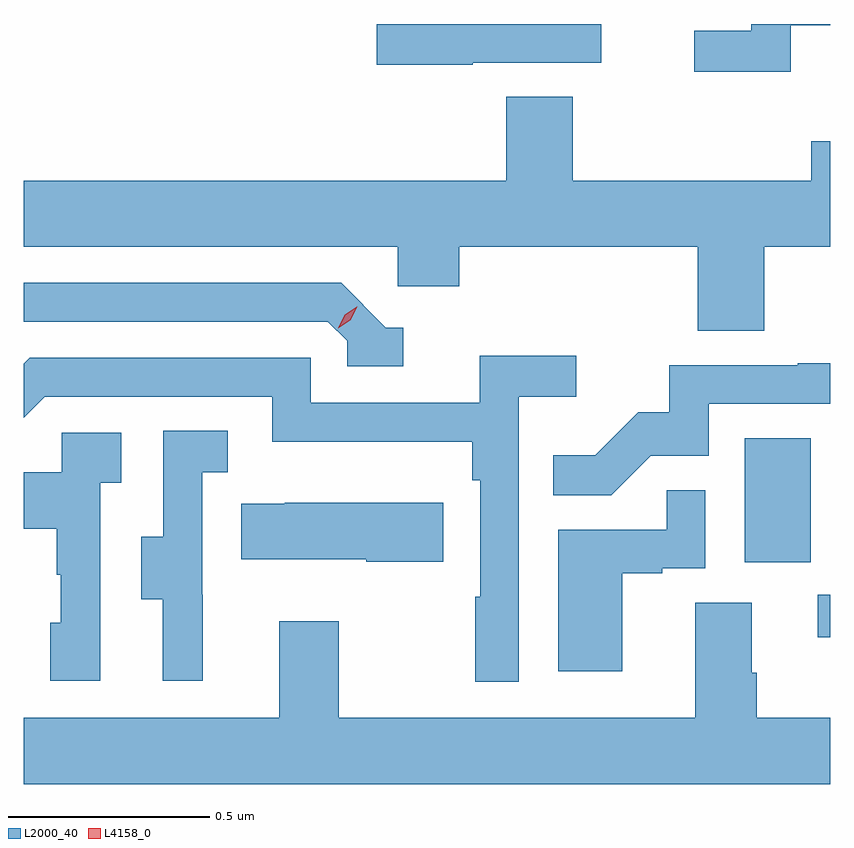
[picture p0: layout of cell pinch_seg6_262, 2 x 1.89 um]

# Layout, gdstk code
import gdstk
lib = gdstk.Library(unit=1e-6, precision=1e-09)
def R(c, l, rs):  # rectangles x0, y0, x1, y1
    for r in rs: c.add(gdstk.rectangle(r[:2], r[2:], *l))
def P(c, l, *ps):  # polygons
    for p in ps: c.add(gdstk.Polygon(p, *l))
L2000_40 = (2000, 40)
L4158_0 = (4158, 0)

pinch_seg6_262 = lib.new_cell('pinch_seg6_262')
R(pinch_seg6_262, L2000_40, [(1103.049,918.396,1103.08,918.501), (1102.868,918.582,1103.032,918.889)])
P(pinch_seg6_262, L2000_40, [(1102.193,919.821),(1102.512,919.821),(1102.512,919.917),(1101.955,919.917),(1101.955,919.816),(1102.193,919.816)],
  [(1102.982,919.914),(1103.08,919.914),(1103.08,919.917),(1102.884,919.917),(1102.884,919.9),(1102.743,919.9),(1102.743,919.798),(1102.982,919.798)],
  [(1102.916,919.364),(1103.08,919.364),(1103.08,919.626),(1103.033,919.626),(1103.033,919.528),(1102.442,919.528),(1102.442,919.736),(1102.277,919.736),(1102.277,919.528),(1101.08,919.528),(1101.08,919.364),(1102.008,919.364),(1102.008,919.266),(1102.16,919.266),(1102.16,919.364),(1102.751,919.364),(1102.751,919.156),(1102.916,919.156)],
  [(1102.021,919.164),(1101.978,919.164),(1101.867,919.275),(1101.08,919.275),(1101.08,919.179),(1101.834,919.179),(1101.882,919.131),(1101.882,919.068),(1102.021,919.068)],
  [(1102.308,918.992),(1102.45,918.992),(1102.45,919.094),(1102.211,919.094),(1102.211,918.978),(1101.792,918.978),(1101.792,919.089),(1101.095,919.089),(1101.08,919.074),(1101.08,918.941),(1101.132,918.993),(1101.696,918.993),(1101.696,918.881),(1102.192,918.881),(1102.192,918.785),(1102.212,918.785),(1102.212,918.497),(1102.2,918.497),(1102.2,918.285),(1102.308,918.285)],
  [(1102.635,918.846),(1102.779,918.846),(1102.779,918.975),(1103.08,918.975),(1103.08,919.076),(1102.999,919.076),(1102.999,919.071),(1102.681,919.071),(1102.681,918.954),(1102.604,918.954),(1102.497,918.847),(1102.393,918.847),(1102.393,918.748),(1102.537,918.748)],
  [(1101.524,918.501),(1101.522,918.501),(1101.522,918.805),(1101.586,918.805),(1101.586,918.908),(1101.426,918.908),(1101.426,918.645),(1101.371,918.645),(1101.371,918.49),(1101.425,918.49),(1101.425,918.288),(1101.524,918.288)],
  [(1101.27,918.779),(1101.322,918.779),(1101.322,918.903),(1101.174,918.903),(1101.174,918.805),(1101.08,918.805),(1101.08,918.665),(1101.162,918.665),(1101.162,918.551),(1101.172,918.551),(1101.172,918.432),(1101.146,918.432),(1101.146,918.288),(1101.27,918.288)],
  [(1102.564,918.555),(1102.664,918.555),(1102.664,918.567),(1102.77,918.567),(1102.77,918.761),(1102.675,918.761),(1102.675,918.663),(1102.406,918.663),(1102.406,918.312),(1102.564,918.312)],
  [(1102.12,918.73),(1101.727,918.73),(1101.727,918.727),(1101.619,918.727),(1101.619,918.59),(1101.929,918.59),(1101.929,918.583),(1102.12,918.583)],
  [(1103.08,918.196),(1102.898,918.196),(1102.898,918.308),(1102.885,918.308),(1102.885,918.482),(1102.745,918.482),(1102.745,918.196),(1101.861,918.196),(1101.861,918.436),(1101.713,918.436),(1101.713,918.196),(1101.08,918.196),(1101.08,918.032),(1103.08,918.032)])
P(pinch_seg6_262, L4158_0, [(1101.86,919.163),(1101.86,919.164),(1101.876,919.196),(1101.906,919.216),(1101.907,919.216),(1101.907,919.216),(1101.891,919.183),(1101.86,919.163)])

lib.write_gds('pinch_seg6_262.gds')
